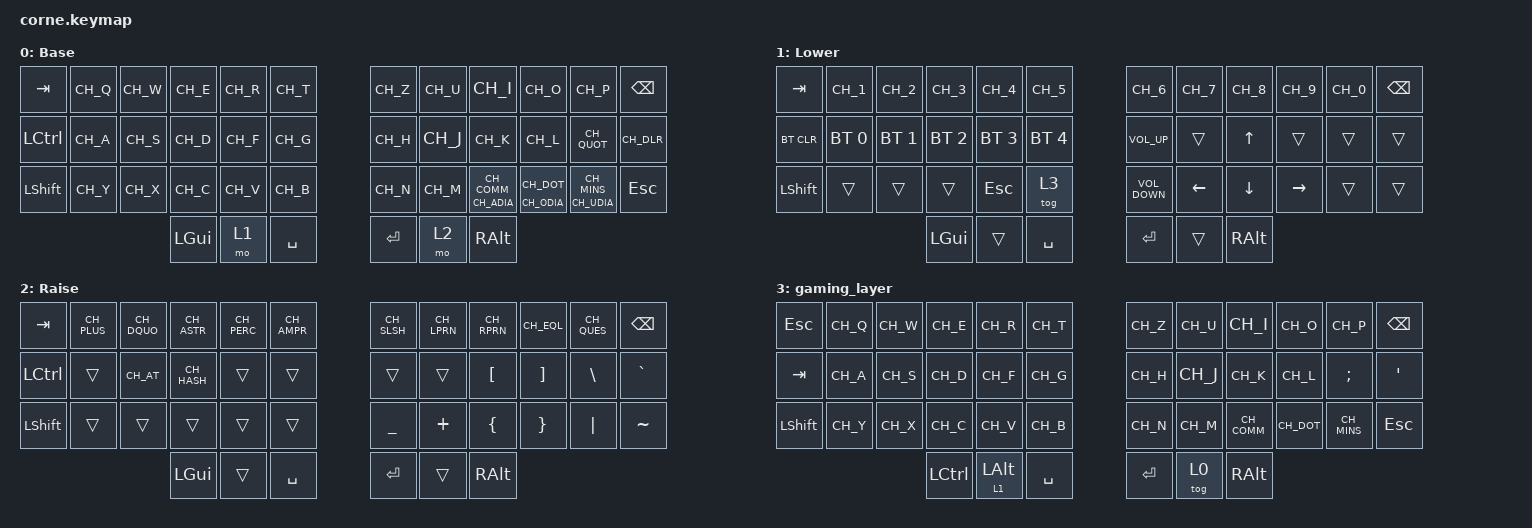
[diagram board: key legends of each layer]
/*
 * Copyright (c) 2020 The ZMK Contributors
 *
 * SPDX-License-Identifier: MIT
 */

#include "keymap_swiss_de.h"
#include <behaviors.dtsi>
#include <dt-bindings/zmk/bt.h>
#include <dt-bindings/zmk/keys.h>
#define DEFAULT 0
#define LOWER 1
#define RAISE 2
#define GAME 3

/ {
    keymap {
        compatible = "zmk,keymap";

        default_layer {
            // -----------------------------------------------------------------------------------------
            // |  TAB |  Q  |  W  |  E  |  R  |  T  |   |  Z  |  U   |  I  |  O  |  P  | BKSP |
            // | CTRL |  A  |  S  |  D  |  F  |  G  |   |  H  |  J   |  K  |  L  |  ;  |  '   |
            // | SHFT |  Z  |  X  |  C  |  V  |  B  |   |  N  |  M   |  ,  |  .  |  /  | ESC  |
            //                    | GUI | LWR | SPC |   | ENT | RSE  | ALT |

            display-name = "Base";
            bindings = <
&kp TAB    &kp CH_Q  &kp CH_W  &kp CH_E  &kp CH_R  &kp CH_T        &kp CH_Z  &kp CH_U  &kp CH_I             &kp CH_O           &kp CH_P             &kp BSPC
&kp LCTRL  &kp CH_A  &kp CH_S  &kp CH_D  &kp CH_F  &kp CH_G        &kp CH_H  &kp CH_J  &kp CH_K             &kp CH_L           &kp CH_QUOT          &kp CH_DLR
&kp LSHFT  &kp CH_Y  &kp CH_X  &kp CH_C  &kp CH_V  &kp CH_B        &kp CH_N  &kp CH_M  &mt CH_ADIA CH_COMM  &mt CH_ODIA CH_DOT &mt CH_UDIA CH_MINS  &kp ESC
                                  &kp LGUI  &mo 1  &kp SPACE       &kp RET  &mo 2  &kp RALT
            >;
        };

        lower_layer {
            // -----------------------------------------------------------------------------------------
            // |  TAB |  1  |  2  |  3  |  4  |  5  |   |  6  |  7  |  8  |  9  |  0  | BKSP |
            // | BTCLR| BT1 | BT2 | BT3 | BT4 | BT5 |   | LFT | DWN |  UP | RGT |     |      |
            // | SHFT |     |     |     |     |     |   |     |     |     |     |     |      |
            //                    | GUI |     | SPC |   | ENT |     | ALT |

            display-name = "Lower";
            bindings = <
&kp TAB     &kp CH_1        &kp CH_2      &kp CH_3      &kp CH_4      &kp CH_5                &kp CH_6           &kp CH_7   &kp CH_8   &kp CH_9   &kp CH_0  &kp BSPC
&bt BT_CLR  &bt BT_SEL 0    &bt BT_SEL 1  &bt BT_SEL 2  &bt BT_SEL 3  &bt BT_SEL 4            &kp C_VOLUME_UP    &trans     &kp UP     &trans     &trans    &trans
&kp LSHFT   &trans          &trans        &trans        &kp ESCAPE    &tog 3                  &kp C_VOLUME_DOWN  &kp LEFT   &kp DOWN   &kp RIGHT  &trans    &trans
                                &kp LGUI      &trans        &kp SPACE                         &kp RET            &trans     &kp RALT
            >;
        };

        raise_layer {
            // -----------------------------------------------------------------------------------------
            // |  TAB |  +  |  "  |  *  |  %  |  &  |   |  /  |  (  |  )  |  =  |  ?  | BKSP |
            // | CTRL |     |  @  |  #  |     |     |   |     |     |  [  |  ]  |  \  |  `   |
            // | SHFT |     |     |     |     |     |   |  _  |  +  |  {  |  }  | "|" |  ~   |
            //                    | GUI |     | SPC |   | ENT |     | ALT |

            display-name = "Raise";
            bindings = <
&kp TAB    &kp CH_PLUS  &kp CH_DQUO  &kp CH_ASTR  &kp CH_PERC  &kp CH_AMPR       &kp CH_SLSH  &kp CH_LPRN  &kp CH_RPRN  &kp CH_EQL &kp CH_QUES  &kp BSPC
&kp LCTRL  &trans       &kp CH_AT    &kp CH_HASH  &trans       &trans            &trans       &trans       &kp LBKT     &kp RBKT   &kp BSLH     &kp GRAVE
&kp LSHFT  &trans       &trans       &trans       &trans       &trans            &kp UNDER    &kp PLUS     &kp LBRC     &kp RBRC   &kp PIPE     &kp TILDE
                                     &kp LGUI     &trans       &kp SPACE         &kp RET      &trans       &kp RALT
            >;
        };

        gaming_layer {
            bindings = <
&kp ESC    &kp CH_Q  &kp CH_W  &kp CH_E  &kp CH_R  &kp CH_T        &kp CH_Z  &kp CH_U  &kp CH_I     &kp CH_O    &kp CH_P     &kp BSPC
&kp TAB    &kp CH_A  &kp CH_S  &kp CH_D  &kp CH_F  &kp CH_G        &kp CH_H  &kp CH_J  &kp CH_K     &kp CH_L    &kp SEMI     &kp SQT
&kp LSHFT  &kp CH_Y  &kp CH_X  &kp CH_C  &kp CH_V  &kp CH_B        &kp CH_N  &kp CH_M  &kp CH_COMM  &kp CH_DOT  &kp CH_MINS  &kp ESC
                         &kp LCTRL  &lt 1 LALT &kp SPACE    &kp ENTER  &tog 0  &kp RALT
            >;
        };
    };
};
